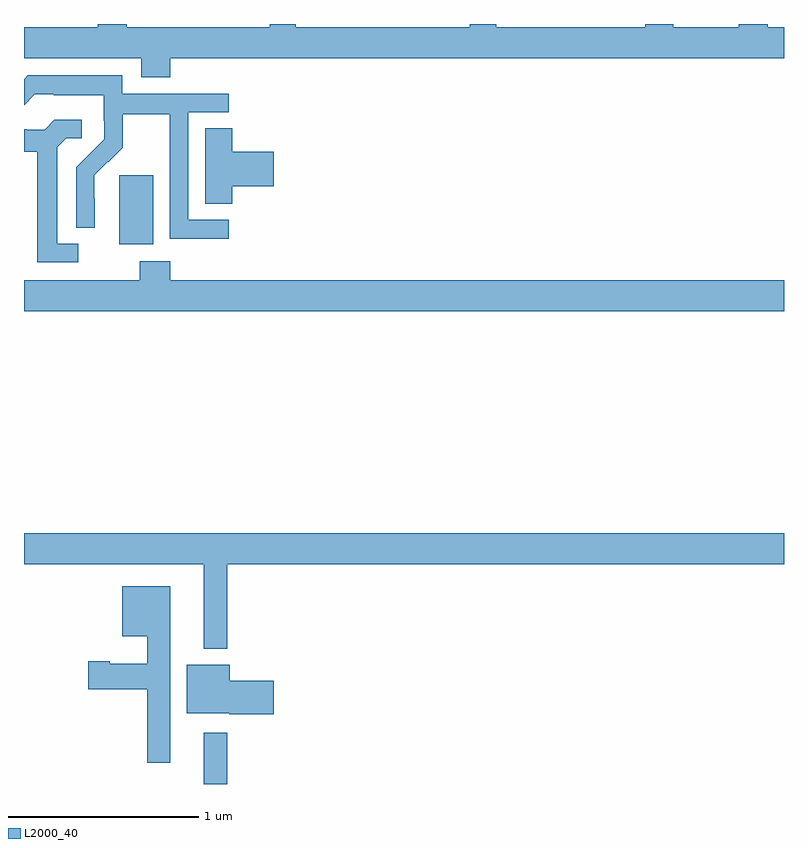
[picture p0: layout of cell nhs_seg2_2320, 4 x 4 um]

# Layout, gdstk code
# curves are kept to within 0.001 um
import gdstk
lib = gdstk.Library(unit=1e-6, precision=1e-09)
def R(c, l, rs):  # rectangles x0, y0, x1, y1
    for r in rs: c.add(gdstk.rectangle(r[:2], r[2:], *l))
def P(c, l, *ps):  # polygons
    for p in ps: c.add(gdstk.Polygon(p, *l))
L2000_40 = (2000, 40)

nhs_seg2_2320 = lib.new_cell('nhs_seg2_2320')
R(nhs_seg2_2320, L2000_40, [(231.947,659.8,232.069,660.07), (231.5,662.642,231.679,663.003)])
P(nhs_seg2_2320, L2000_40, [(231.77,663.62),(235,663.62),(235,663.784),(234.914,663.784),(234.914,663.8),(234.761,663.8),(234.761,663.784),(234.417,663.784),(234.417,663.8),(234.269,663.8),(234.269,663.784),(233.485,663.784),(233.485,663.8),(233.345,663.8),(233.345,663.784),(232.431,663.784),(232.431,663.8),(232.293,663.8),(232.293,663.784),(231.541,663.784),(231.541,663.8),(231.389,663.8),(231.389,663.784),(231,663.784),(231,663.62),(231.617,663.62),(231.617,663.521),(231.77,663.521)],
  [(232.078,662.769),(231.864,662.769),(231.864,663.336),(232.078,663.336),(232.078,663.432),(231.516,663.432),(231.516,663.529),(231.019,663.529),(231,663.51),(231,663.372),(231.057,663.429),(231.157,663.429),(231.157,663.425),(231.42,663.425),(231.42,663.291),(231.422,663.291),(231.422,663.194),(231.276,663.046),(231.276,662.728),(231.372,662.728),(231.371,663.005),(231.441,663.075),(231.444,663.072),(231.521,663.149),(231.521,663.324),(231.766,663.324),(231.766,663.1),(231.768,663.1),(231.768,662.671),(232.078,662.671)],
  [(231.286,662.643),(231.175,662.643),(231.175,663.151),(231.222,663.198),(231.304,663.198),(231.304,663.295),(231.16,663.295),(231.108,663.243),(231.014,663.243),(231.014,663.246),(231,663.246),(231,663.128),(231.071,663.128),(231.071,662.547),(231.286,662.547)],
  [(232.097,662.945),(232.315,662.945),(232.315,663.128),(232.097,663.128),(232.097,663.251),(231.953,663.251),(231.953,662.854),(232.097,662.854)],
  [(235,662.452),(231.77,662.452),(231.77,662.551),(231.61,662.551),(231.61,662.452),(231,662.452),(231,662.288),(235,662.288)],
  [(232.069,660.956),(235,660.956),(235,661.12),(231,661.12),(231,660.956),(231.947,660.956),(231.947,660.512),(232.069,660.512)],
  [(231.769,660.841),(231.518,660.841),(231.518,660.578),(231.648,660.578),(231.648,660.433),(231.451,660.433),(231.451,660.446),(231.339,660.446),(231.339,660.299),(231.648,660.299),(231.648,659.913),(231.769,659.913)],
  [(232.315,660.344),(232.084,660.344),(232.084,660.427),(231.857,660.427),(231.857,660.173),(232.08,660.173),(232.08,660.166),(232.315,660.166)])

lib.write_gds('nhs_seg2_2320.gds')
